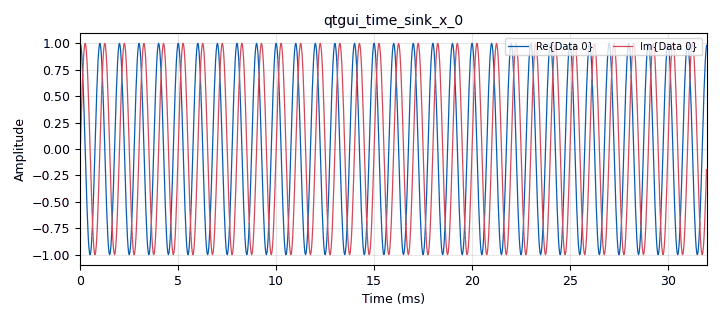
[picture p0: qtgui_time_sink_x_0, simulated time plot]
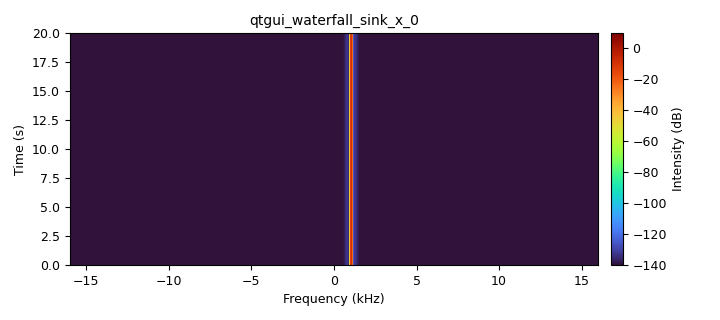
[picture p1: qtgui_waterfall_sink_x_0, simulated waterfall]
options:
  parameters:
    generate_options: qt_gui
    id: rest_example
    output_language: python
    title: REST Configurable Signal Generator
  states: {}

blocks:
- name: amplitude
  id: variable
  parameters:
    value: '1'
  states: {}
- name: freq
  id: variable
  parameters:
    value: 1e3
  states: {}
- name: phase
  id: variable
  parameters:
    value: '0'
  states: {}
- name: rest_api_1
  id: rest_api
  parameters:
    port: '8000'
    readable: '[''freq'', ''amplitude'', ''phase'']'
    value: '0'
    writable: '[''freq'', ''amplitude'', ''phase'']'
  states: {}
- name: samp_rate
  id: variable
  parameters:
    value: '32000'
  states: {}
- name: analog_sig_source_x_0
  id: analog_sig_source_x
  parameters:
    amp: amplitude
    freq: freq
    offset: '0'
    phase: phase
    samp_rate: samp_rate
    type: complex
    waveform: analog.GR_COS_WAVE
  states: {}
- name: blocks_throttle_0
  id: blocks_throttle
  parameters:
    samples_per_second: samp_rate
    type: complex
  states: {}
- name: note_0
  id: note
  parameters:
    comment: |-
      This flowgraph settings can be read and updated using the REST endpoint.
      Read the flowgraph settings using:
         curl -X GET http://127.0.0.1:8000/status
      To update the writable settings use
         curl -X PUT http://127.0.0.1:8000/config -H 'Content-Type: application/json' -d '{"amplitude":2, "freq":2e3}'
  states: {}
- name: qtgui_time_sink_x_0
  id: qtgui_time_sink_x
  parameters:
    autoscale: 'True'
    size: '1024'
    srate: samp_rate
    type: complex
  states: {}
- name: qtgui_waterfall_sink_x_0
  id: qtgui_waterfall_sink_x
  parameters:
    bw: samp_rate
    fc: '0'
    fftsize: '1024'
    type: complex
  states: {}

connections:
- [analog_sig_source_x_0, '0', blocks_throttle_0, '0']
- [blocks_throttle_0, '0', qtgui_time_sink_x_0, '0']
- [blocks_throttle_0, '0', qtgui_waterfall_sink_x_0, '0']

metadata:
  file_format: 1
